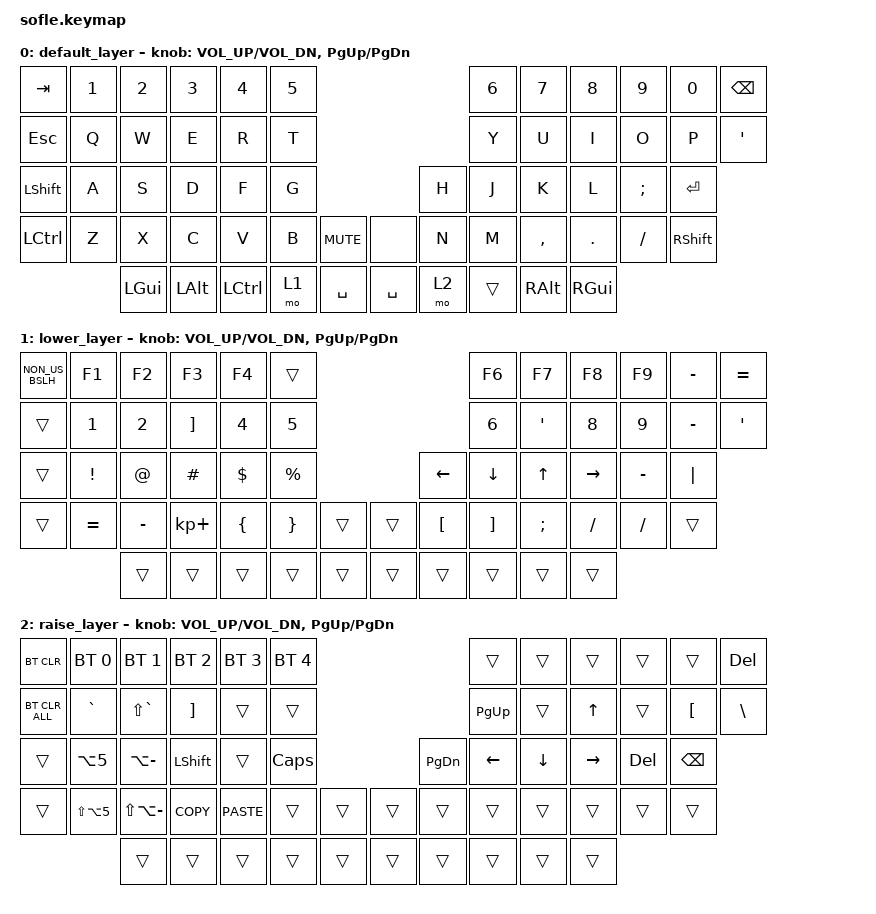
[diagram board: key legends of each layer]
/*
 * Copyright (c) 2020 The ZMK Contributors
 *
 * SPDX-License-Identifier: MIT
 */

#include <behaviors.dtsi>
#include <dt-bindings/zmk/keys.h>
#include <dt-bindings/zmk/bt.h>

/ {
    keymap {
        compatible = "zmk,keymap";

        default_layer {
// ------------------------------------------------------------------------------------------------------------
// |  `    |  1  |  2  |  3   |  4   |  5   |                   |  6   |  7    |  8    |  9   |   0   |       |
// |  ESC  |  Q  |  W  |  E   |  R   |  T   |                   |  Y   |  U    |  I    |  O   |   P   | BKSPC |
// |  TAB  |  A  |  S  |  D   |  F   |  G   |                   |  H   |  J    |  K    |  L   |   ;   |   '   |
// | SHIFT |  Z  |  X  |  C   |  V   |  B   |  MUTE  |  |       |  N   |  M    |  ,    |  .   |   /   | SHIFT |
//               | GUI | ALT  | CTRL | LOWER|  ENTER |  | SPACE | RAISE| CTRL  | ALT   | GUI  |
            bindings = <
&kp TAB &kp N1 &kp N2   &kp N3   &kp N4    &kp N5                      &kp N6 &kp N7    &kp N8    &kp N9   &kp N0   &kp BSPC
&kp ESC   &kp Q  &kp W    &kp E    &kp R     &kp T                       &kp Y  &kp U     &kp I     &kp O    &kp P    &kp SQT
&kp LSHFT   &kp A  &kp S    &kp D    &kp F     &kp G                       &kp H  &kp J     &kp K     &kp L    &kp SEMI &kp RET
&kp LCTRL &kp Z  &kp X    &kp C    &kp V     &kp B  &kp C_MUTE &none     &kp N  &kp M     &kp COMMA &kp DOT  &kp FSLH &kp RSHFT
                 &kp LGUI &kp LALT &kp LCTRL &mo 1  &kp SPACE    &kp SPACE &mo 2  &trans &kp RALT  &kp RGUI
            >;

            sensor-bindings = <&inc_dec_kp C_VOL_UP C_VOL_DN &inc_dec_kp PG_UP PG_DN>;
        };

        lower_layer {
// TODO: Some binds are waiting for shifted keycode support.
// ------------------------------------------------------------------------------------------------------------
// |       |  F1 |  F2 |  F3  |  F4  |  F5  |                   |  F6  |  F7   |  F8   |  F9  |  F10  |  F11  |
// | `     |   1 |   2 |   3  |   4  |   5  |                   |   6  |   7   |   8   |   9  |    0  |  F12  |
// |       |  !  |  @  |  #   |  $   |  %   |                   |  ^   |  &    |  *    |  (   |   )   |   |   |
// |       |  =  |  -  |  +   |  {   |  }   |        |  |       |  [   |  ]    |  ;    |  :   |   \   |       |
//               |     |      |      |      |        |  |       |      |       |       |      |
            bindings = <
&kp NON_US_BSLH    &kp F1    &kp F2    &kp F3      &kp F4    &trans                    &kp F6    &kp F7   &kp F8   &kp F9    &kp MINUS   &kp EQUAL
&trans    &kp N1    &kp N2    &kp RBKT      &kp N4    &kp N5                    &kp N6    &kp SQT   &kp N8   &kp N9    &kp MINUS    &kp SQT
&trans    &kp EXCL  &kp AT    &kp HASH    &kp DLLR  &kp PRCNT                 &kp LEFT  &kp DOWN &kp UP   &kp RIGHT  &kp MINUS  &kp PIPE
&trans    &kp EQUAL &kp MINUS &kp KP_PLUS &kp LBRC  &kp RBRC  &trans   &trans &kp LBKT  &kp RBKT &kp SEMI &kp FSLH &kp FSLH  &trans
                    &trans    &trans      &trans    &trans    &trans   &trans &trans    &trans   &trans   &trans
            >;

            sensor-bindings = <&inc_dec_kp C_VOL_UP C_VOL_DN &inc_dec_kp PG_UP PG_DN>;
        };

        raise_layer {
// ------------------------------------------------------------------------------------------------------------
// |BTCLR| BT1  | BT2  |  BT3  |  BT4  |  BT5 |                |      |      |       |      |       |       |
// |     | INS  | PSCR | GUI   |       |      |                | PGUP |      |   ^   |      |       |       |
// |     | ALT  | CTRL | SHIFT |       | CAPS |                | PGDN |   <- |   v   |  ->  |  DEL  | BKSPC |
// |     | UNDO | CUT  | COPY  | PASTE |      |      |  |      |      |      |       |      |       |       |
//              |      |       |       |      |      |  |      |      |      |       |      |
            bindings = <
&bt BT_CLR &bt BT_SEL 0        &bt BT_SEL 1 &bt BT_SEL 2 &bt BT_SEL 3 &bt BT_SEL 4             &trans    &trans    &trans   &trans    &trans  &kp DELETE
&bt BT_CLR_ALL &kp GRAVE     &kp LS(GRAVE)    &kp RBKT  &trans       &trans                   &kp PG_UP &trans    &kp UP   &trans    &kp LBKT  &kp BSLH
&trans     &kp LA(NUMBER_5)   &kp LA(MINUS)  &kp LSHFT    &trans       &kp CLCK                 &kp PG_DN &kp LEFT  &kp DOWN &kp RIGHT &kp DEL &kp BSPC
&trans     &kp LS(LA(NUMBER_5))   &kp LS(LA(MINUS))  &kp K_COPY   &kp K_PASTE  &trans  &trans   &trans  &trans    &trans    &trans   &trans    &trans  &trans
                        &trans       &trans       &trans       &trans  &trans   &trans  &trans    &trans    &trans   &trans
            >;

            sensor-bindings = <&inc_dec_kp C_VOL_UP C_VOL_DN &inc_dec_kp PG_UP PG_DN>;
        };
    };
};
